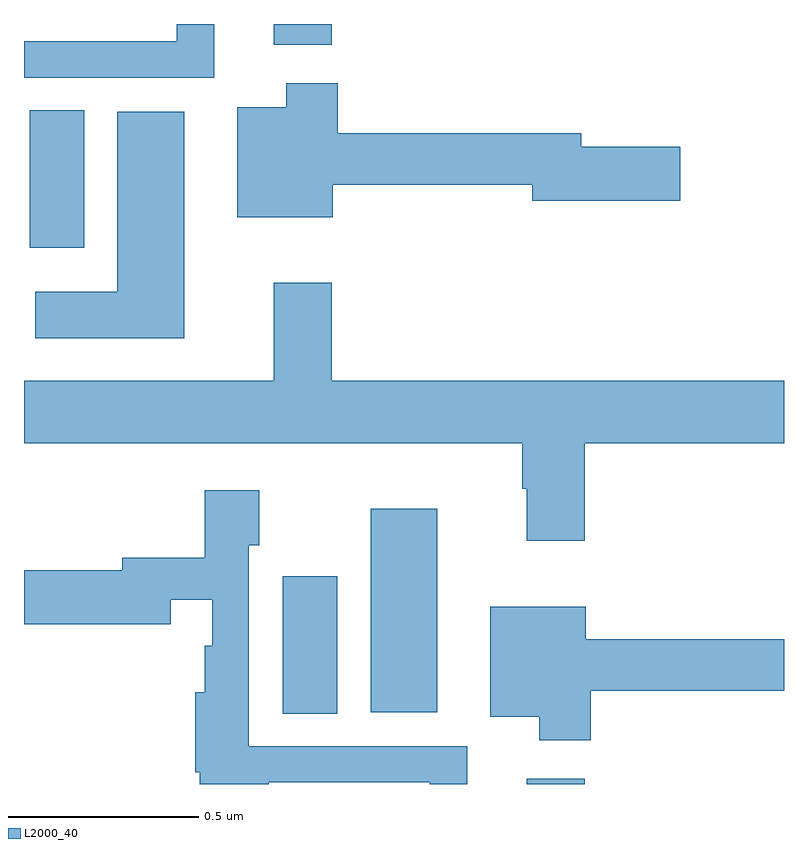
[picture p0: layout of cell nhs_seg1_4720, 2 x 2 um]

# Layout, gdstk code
import gdstk
lib = gdstk.Library(unit=1e-6, precision=1e-09)
def R(c, l, rs):  # rectangles x0, y0, x1, y1
    for r in rs: c.add(gdstk.rectangle(r[:2], r[2:], *l))
def P(c, l, *ps):  # polygons
    for p in ps: c.add(gdstk.Polygon(p, *l))
L2000_40 = (2000, 40)

nhs_seg1_4720 = lib.new_cell('nhs_seg1_4720')
R(nhs_seg1_4720, L2000_40, [(171.323,520.199,171.476,520.213), (170.681,520.384,170.824,520.746), (170.912,520.388,171.088,520.924), (170.015,521.61,170.158,521.972), (170.657,522.144,170.81,522.199)])
P(nhs_seg1_4720, L2000_40, [(170.5,522.199),(170.402,522.199),(170.402,522.153),(170,522.153),(170,522.057),(170.5,522.057)],
  [(170.812,521.776),(171.338,521.776),(171.338,521.734),(171.727,521.734),(171.727,521.876),(171.466,521.876),(171.466,521.912),(170.825,521.912),(170.825,522.043),(170.69,522.043),(170.69,521.98),(170.561,521.98),(170.561,521.69),(170.812,521.69)],
  [(170.422,521.968),(170.246,521.968),(170.246,521.494),(170.03,521.494),(170.03,521.372),(170.422,521.372)],
  [(171.476,521.096),(172,521.096),(172,521.26),(170.81,521.26),(170.81,521.518),(170.657,521.518),(170.657,521.26),(170,521.26),(170,521.096),(171.311,521.096),(171.311,520.976),(171.323,520.976),(171.323,520.839),(171.476,520.839)],
  [(170.644,520.203),(171.068,520.203),(171.068,520.199),(171.166,520.199),(171.166,520.299),(170.592,520.299),(170.592,520.827),(170.619,520.827),(170.619,520.972),(170.476,520.972),(170.476,520.795),(170.258,520.795),(170.258,520.761),(170,520.761),(170,520.619),(170.386,520.619),(170.386,520.684),(170.496,520.684),(170.496,520.563),(170.476,520.563),(170.476,520.441),(170.45,520.441),(170.45,520.23),(170.462,520.23),(170.462,520.199),(170.644,520.199)],
  [(171.491,520.444),(172,520.444),(172,520.58),(171.478,520.58),(171.478,520.666),(171.227,520.666),(171.227,520.376),(171.356,520.376),(171.356,520.314),(171.491,520.314)])

lib.write_gds('nhs_seg1_4720.gds')
